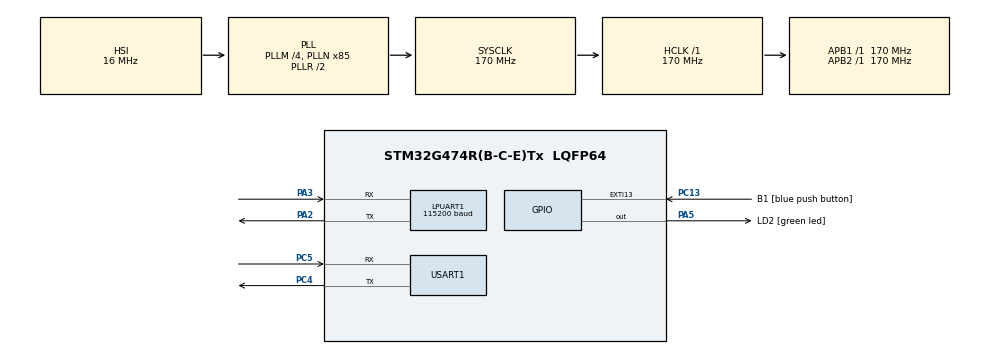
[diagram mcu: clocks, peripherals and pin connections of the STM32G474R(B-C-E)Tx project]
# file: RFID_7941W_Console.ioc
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LPUART1.BaudRate=115200
Mcu.Family=STM32G4
Mcu.Name=STM32G474R(B-C-E)Tx
Mcu.Package=LQFP64
NVIC.EXTI15_10_IRQn=true\:0\:0\:false\:false\:true\:true\:true\:true
NVIC.LPUART1_IRQn=true\:0\:0\:false\:false\:true\:true\:true\:true
NVIC.PriorityGroup=NVIC_PRIORITYGROUP_4
NVIC.USART1_IRQn=true\:0\:0\:false\:true\:true\:1\:true\:true\:true
PA13.GPIO_Label=T_SWDIO
PA13.Mode=Serial_Wire
PA13.Signal=SYS_JTMS-SWDIO
PA14.GPIO_Label=T_SWCLK
PA14.Mode=Serial_Wire
PA14.Signal=SYS_JTCK-SWCLK
PA2.GPIO_Speed=GPIO_SPEED_FREQ_HIGH
PA2.Mode=Asynchronous
PA2.Signal=LPUART1_TX
PA3.GPIO_Speed=GPIO_SPEED_FREQ_HIGH
PA3.Mode=Asynchronous
PA3.Signal=LPUART1_RX
PA5.GPIO_Label=LD2 [green led]
PA5.Signal=GPIO_Output
PB8-BOOT0.Signal=USART3_RX
PC10.Signal=UART4_TX
PC11.Signal=UART4_RX
PC13.GPIO_Label=B1 [blue push button]
PC13.Signal=GPXTI13
PC14-OSC32_IN.Mode=LSE-External-Oscillator
PC14-OSC32_IN.Signal=RCC_OSC32_IN
PC15-OSC32_OUT.Mode=LSE-External-Oscillator
PC15-OSC32_OUT.Signal=RCC_OSC32_OUT
PC4.Mode=Asynchronous
PC4.Signal=USART1_TX
PC5.Mode=Asynchronous
PC5.Signal=USART1_RX
PF0-OSC_IN.Mode=HSE-External-Oscillator
PF0-OSC_IN.Signal=RCC_OSC_IN
PF1-OSC_OUT.Mode=HSE-External-Oscillator
PF1-OSC_OUT.Signal=RCC_OSC_OUT
ProjectManager.HeapSize=0x200
ProjectManager.StackSize=0x400
ProjectManager.TargetToolchain=STM32CubeIDE
RCC.ADC12Freq_Value=170000000
RCC.ADC345Freq_Value=170000000
RCC.AHBFreq_Value=170000000
RCC.APB1Freq_Value=170000000
RCC.APB1TimFreq_Value=170000000
RCC.APB2Freq_Value=170000000
RCC.APB2TimFreq_Value=170000000
RCC.CortexFreq_Value=170000000
RCC.EXTERNAL_CLOCK_VALUE=12288000
RCC.HCLKFreq_Value=170000000
RCC.HSE_VALUE=24000000
RCC.HSI48_VALUE=48000000
RCC.HSI_VALUE=16000000
RCC.PLLM=RCC_PLLM_DIV4
RCC.PLLN=85
RCC.RTCClockSelection=RCC_RTCCLKSOURCE_LSE
RCC.SYSCLKFreq_VALUE=170000000
RCC.SYSCLKSource=RCC_SYSCLKSOURCE_PLLCLK
RCC.USBFreq_Value=170000000
RCC.VCOOutputFreq_Value=340000000
USART1.VirtualMode-Asynchronous=VM_ASYNC
VP_SYS_VS_DBSignals.Mode=DisableDeadBatterySignals
board=NUCLEO-G474RE

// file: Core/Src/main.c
/* USER CODE BEGIN Header */
/**
  ******************************************************************************
  * @file       : main.c
  * @author     : MarceliKu
  * @brief      : A program to experiment with the 7941W module
  ******************************************************************************
  * @attention
  *
  * Copyright (c) 2024 STMicroelectronics.
  * All rights reserved.
  *
  * This software is licensed under terms that can be found in the LICENSE file
  * in the root directory of this software component.
  * If no LICENSE file comes with this software, it is provided AS-IS.
  *
  ******************************************************************************
  */
/* USER CODE END Header */
#include "main.h"
#include "usart.h"
#include "gpio.h"

/* USER CODE BEGIN Includes */
#include "ring_buffer.h"
#include "parser.h"
#include "stdio.h"
#include "string.h"
#include "math.h"
/* USER CODE END Includes */

/* USER CODE BEGIN PD */
#define NO_OF_BLOCKS 4
#define NO_OF_SECTORS 16
#define TIMER_SEND_NEXT_REQUEST 700
/* USER CODE END PD */

/* USER CODE BEGIN PV */
uint8_t Text[90];
uint8_t TextLen;
uint8_t RequetsSent = 0; // How many frames (requests via USART1) have already been sent?

// RFID communication (USART1)
RingBuffer_t ReceiveBuffer;
uint8_t      ReceiveTmp;
extern char stringBuffer[525];

// Console communication (LPUART1)
uint8_t ConReceiveTmp; // Temporary variable for receiving one byte
volatile uint8_t ConByteReceived;
volatile uint8_t IsConSthReceived = 0;
char CurrentMode = '0';
char EchoStr[4];

// Default password
uint8_t DefPass[] = {0xFF, 0xFF, 0xFF, 0xFF, 0xFF, 0xFF};

// Auxiliary buffer for user responses
uint8_t UserAnswers[4];

// Auxiliary buffer for block contents used in case of command 0x13 - write specified sector
uint8_t BlockContent[] = {0x00, 0x10, 0x20, 0x30, 0x40, 0x50, 0x60, 0x70, 0x80, 0x90, 0xA0, 0xB0, 0xC0, 0xD0, 0xE0, 0xF0};

// Universal buffer to be used as ID, UID or new password:
// only the first 5 bytes will be used as the ID
// only the first 4 bytes will be used as the UID
// all 6 bytes will be used as a new/user password
uint8_t UniPass[] = {0X01, 0X02, 0X03, 0X04, 0X05, 0X06}; // default universal password/ID/UID
uint8_t InputByteNo = 0; // Number of byte entered by the user on console
uint8_t ExpectedByteNo = 0; // Expected byte number

// Variables needed for memory dump
uint8_t Sector = 0;
uint8_t Block = 0;

// Software timers
uint32_t TimerMsgSend;   // Software timer for sending next message by UART

//uint8_t Sequence = 0;

/* USER CODE END PV */

void SystemClock_Config(void);
static void MX_NVIC_Init(void);

int main(void)
{

  /* MCU Configuration--------------------------------------------------------*/

  /* Reset of all peripherals, Initializes the Flash interface and the Systick. */
  HAL_Init();

  /* Configure the system clock */
  SystemClock_Config();

  /* Initialize all configured peripherals */
  MX_GPIO_Init();
  MX_USART1_UART_Init();
  MX_LPUART1_UART_Init();

  /* Initialize interrupts */
  MX_NVIC_Init();
  /* USER CODE BEGIN 2 */
  PRS_Outcome ParseOutcome;

  //
  // Declarations and example(!) values of messages (requests) for 7941W
  //
  uint8_t MsgReadID[]     = { 0xAB, 0xBA, 0x00, 0x15, 0x00, 0x15};  // 0x15 requests reading ID of RFID tag of 125 kHz
  uint8_t MsgReadUID[]    = { 0xAB, 0xBA, 0x00, 0x10, 0x00, 0x10};  // 0x10 requests reading ID of RFID tag of 13.56 MHz
  uint8_t MsgWriteID[]    = { 0xAB, 0xBA, 0x00, 0x16, 0x05, 0x01, 0x02, 0x03, 0x04, 0x05, 0x12};  // 0x16 requests writing new ID (5 bytes)
  uint8_t MsgWriteUID[]   = { 0xAB, 0xBA, 0x00, 0x11, 0x04, 0x01, 0x02, 0x03, 0x04, 0x11};  // 0x11 requests writing new Buffer (4 bytes)
  // experimental variant of 0x11, but also does not work :-(
  // uint8_t MsgWriteUID[]   = { 0xAB, 0xBA, 0x00, 0x11, 0x0a, 0x01, 0x02, 0x03, 0x04, 0xFF, 0xFF, 0xFF, 0xFF, 0xFF, 0xFF, 0xF1};  // 0x11 requests writing new Buffer (4 bytes)

  uint8_t MsgReadSector[] = { 0xAB, 0xBA, 0x00, 0x12, 0x09, 0x00, 0x00, 0x0A, 0xFF, 0xFF, 0xFF, 0xFF, 0xFF, 0xFF, 0x10}; // 0x12 read specified sector
  uint8_t MsgWriteSector[]= { 0xAB, 0xBA, 0x00, 0x13, 0x19, 0x00, 0x01, 0x0A, 0xFF, 0xFF, 0xFF, 0xFF, 0xFF, 0xFF, 0x00, 0x01, 0x02, 0x03, 0x04, 0x05, 0x06, 0x07, 0x08, 0x09, 0x01, 0x02, 0x03, 0x04, 0x05, 0x06, 0x07}; // 0x13 write specified sector
  uint8_t MsgModifyPass[] = { 0xAB, 0xBA, 0x00, 0x14, 0x0E, 0x00, 0x0A, 0xFF, 0xFF, 0xFF, 0xFF, 0xFF, 0xFF, 0x01, 0x02, 0x03, 0x04, 0x05, 0x06, 0x17}; // 0x14 modify the password of group A or group B
  // Below request (0x17 - read all sector data) seams to not work.
  uint8_t MsgReadAll[]    = { 0xAB, 0xBA, 0x00, 0x17, 0x07, 0x0A, 0xFF, 0xFF, 0xFF, 0xFF, 0xFF, 0xFF, 0x1A};  // 0x17 read all sector data (M1-1K card)

  uint8_t* RequestPtr;
  uint8_t RequestLen;
  uint8_t XorByte;
  char    IdString[17];
  uint8_t BeginOfIdLoc = 15;
  uint8_t IdLen = 14;
  uint8_t UIdLen = 11;

  // Prepare constant part of EchoStr
  EchoStr[1] = '\n';
  EchoStr[2] = '\r';
  EchoStr[3] = '\0';

  // Start by displaying menu
  CurrentMode = 'm';
  ShowMenu();

  // Start listening to UART
  HAL_UART_Receive_IT(&huart1, &ReceiveTmp, 1);
  // Start listening to LPUART
  HAL_UART_Receive_IT(&hlpuart1, &ConReceiveTmp, 1);

  // Initiate TimerMsgSend
  TimerMsgSend   = HAL_GetTick();

  /* USER CODE END 2 */

  /* Infinite loop */
  /* USER CODE BEGIN WHILE */
  while (1)
  {
	  //=======================================================================================================
      // Parse byte received from 7941W (UART1)
	  //=======================================================================================================
      ParseOutcome = Parse_Byte(&ReceiveBuffer);
      if(ParseOutcome == PRS_MSG_RECEIVED)
      {
     	 switch(CurrentMode)
     	 {
     	 case '1': // Periodically read Tag ID (125 kHz)
             // If it was positive (0x81) response get Id from it and send to "console" (LPUART1)
             if(stringBuffer[9] == '8' && stringBuffer[10] == '1')
        	 {
            	strncpy(IdString, stringBuffer + BeginOfIdLoc, IdLen); // extract Id from stringBuffer
            	IdString[14] = '\n';
            	IdString[15] = '\r';
            	IdString[16] = '\0';
            	HAL_UART_Transmit(&hlpuart1, (uint8_t *)IdString, strlen(IdString), 1000);

            	// Toggle LED2 if it was ID stored in first 5 bytes of UniPass
            	TextLen = sprintf((char *)Text, "%02X:%02X:%02X:%02X:%02X\n\r", UniPass[0], UniPass[1], UniPass[2], UniPass[3], UniPass[4] );
            	if(strcmp((char *)Text, IdString) == 0)
            	{
                	HAL_GPIO_TogglePin(LD2_GPIO_Port, LD2_Pin);
            	}
             }
     	     break;

     	 case '2': // Periodically read Tag Buffer (13.56 MHz)
             // If it was positive (0x81) response get UId from it and send to "console" (LPUART1)
             if(stringBuffer[9] == '8' && stringBuffer[10] == '1')
        	 {
            	strncpy(IdString, stringBuffer + BeginOfIdLoc, UIdLen); // extract UId from stringBuffer
            	IdString[11] = '\n';
            	IdString[12] = '\r';
            	IdString[13] = '\0';
            	HAL_UART_Transmit(&hlpuart1, (uint8_t *)IdString, strlen(IdString), 1000);

            	// Toggle LED2 if it was UID stored in first 4 bytes of UniPass
            	TextLen = sprintf((char *)Text, "%02X:%02X:%02X:%02X\n\r", UniPass[0], UniPass[1], UniPass[2], UniPass[3] );
            	if(strcmp((char *)Text, IdString) == 0)
            	{
                	HAL_GPIO_TogglePin(LD2_GPIO_Port, LD2_Pin);
            	}
             }
     	     break;

     	 case '4': // Write new Tag ID (125 kHz)
     	 case '5': // Write new Tag UID (13.56 MHz)
             // Send any answer to "console" (LPUART1) - positive (0x81) or negative (0x80) confirmation
     		 HAL_UART_Transmit(&hlpuart1, (uint8_t *)stringBuffer, strlen(stringBuffer), 1000);
     	     break;

     	 case '6': // Read specified sector (13.56 MHz)
     	 case '7': // Write specified sector (13.56 MHz)
     	 case '8': // Modify sector's password (13.56 MHz)
     	 case '9': // Dump group memory (13.56 MHz)
     	 case 'a': // Read all sector data (13.56 MHz)
     		 // Send any answer to "console" (LPUART1) - positive (0x81) or negative (0x80) confirmation
         	 HAL_UART_Transmit(&hlpuart1, (uint8_t *)stringBuffer, strlen(stringBuffer), 1000);
     		 break;
     	 }
		 // get ready for new message
		 Reset_Buffers();
      }

      //=======================================================================================================
      // Parse byte received from Console (LPUART1)
      //=======================================================================================================

      if(IsConSthReceived == 1) // do only if new byte has been received from console
      {
    	  IsConSthReceived = 0;
    	  switch(CurrentMode)
    	  {
    	  case '3': // Set bytes of UniPass
    		  if(InputByteNo < 6)
    		  {
    			  UniPass[InputByteNo] = ConByteReceived;
    			  InputByteNo++;
    			  // Send echo of received byte to console
    			  TextLen = sprintf((char *)Text, "%02X\n\r", ConByteReceived);
    			  HAL_UART_Transmit(&hlpuart1, (uint8_t*)Text, TextLen, 1000);
    		  }
    		  break;
    	  case '6': // Read specified sector (13.56 MHz)
    	  case '7': // Write specified sector (13.56 MHz)
    		  // in consecutive steps input: sector (byte 0), block (byte 1), group (byte 2) and point out current pass (byte 3)
    		  if(InputByteNo < 4)
    		  {
    			  UserAnswers[InputByteNo] = ConByteReceived;
    			  InputByteNo++;
    			  // Send echo of received byte to console
    			  TextLen = sprintf((char *)Text, "%02X\n\r", ConByteReceived);
    			  HAL_UART_Transmit(&hlpuart1, (uint8_t*)Text, TextLen, 1000);
    		  }
    		  break;
    	  case '8': // Modify sector's password (13.56 MHz)
    		  // in consecutive steps input: sector (byte 0), group (byte 1), then choose current pass (byte 2) and choose new pass (byte 3)
    		  if(InputByteNo < 4)
    		  {
    			  UserAnswers[InputByteNo] = ConByteReceived;
    			  InputByteNo++;
    			  // Send echo of received byte to console
    			  TextLen = sprintf((char *)Text, "%02X\n\r", ConByteReceived);
    			  HAL_UART_Transmit(&hlpuart1, (uint8_t*)Text, TextLen, 1000);
    		  }
    		  break;
    	  case '9': // Dump group memory (13.56 MHz)
    	  case 'a': // Read all sector data (13.56 MHz)
    		  // in consecutive steps input: group (byte 0) and then choose current pass (byte 1)
    		  if(InputByteNo < 2)
    		  {
    			  UserAnswers[InputByteNo] = ConByteReceived;
    			  InputByteNo++;
    			  // Send echo of received byte to console
    			  TextLen = sprintf((char *)Text, "%02X\n\r", ConByteReceived);
    			  HAL_UART_Transmit(&hlpuart1, (uint8_t*)Text, TextLen, 1000);
    		  }
    		  break;
    	  case 'm': // Display Menu
    		  // Send echo of received mode to console
    		  EchoStr[0] = (char)ConByteReceived;
    		  HAL_UART_Transmit(&hlpuart1, (uint8_t *)EchoStr, 3, 1000);

    		  CurrentMode = (char)ConByteReceived;
    		  break;
    	  }

    	  if((char)ConByteReceived == 'm') // || NewMode == 'm')
    	  {
    		  CurrentMode = 'm';
    		  ShowMenu();
    	  }

      }

      //=======================================================================================================
	  // Send next request
      //=======================================================================================================

      if((HAL_GetTick() - TimerMsgSend) > TIMER_SEND_NEXT_REQUEST)
	  {
    	 TimerMsgSend = HAL_GetTick();
    	 switch(CurrentMode)
    	 {
    	 case '1':
    		 RequestPtr = MsgReadID;
    		 RequestLen = sizeof MsgReadID;
    		 HAL_UART_Transmit(&huart1, RequestPtr, RequestLen, 500);
    		 break;
    	 case '2':
     		 RequestPtr = MsgReadUID;
    		 RequestLen = sizeof MsgReadUID;
    		 HAL_UART_Transmit(&huart1, RequestPtr, RequestLen, 500);
    		 break;
    	 case '3':
    		 if(InputByteNo < 6)
    		 {
    			 if(InputByteNo == ExpectedByteNo)
    			 {
        			 TextLen = sprintf((char *)Text, "\n\rEnter %d. byte of new (U)ID: ", ExpectedByteNo);
        			 HAL_UART_Transmit(&hlpuart1, (uint8_t*)Text, TextLen, 1000);
    				 ExpectedByteNo++;
    			 }
    		 }
   			 else
   			 {
   				CurrentMode = 'm';
   				ShowMenu();
   			 }
    		 break;
    	 case '4':
    		 if(RequetsSent < 1) // to send this request only once
    		 {
        		 TextLen = sprintf((char *)Text, "Writing new ID (5 Bytes): %02X:%02X:%02X:%02X:%02X)\n\r", UniPass[0], UniPass[1], UniPass[2], UniPass[3], UniPass[4] );
        		 HAL_UART_Transmit(&hlpuart1, (uint8_t*)Text, TextLen, 1000);
        		 RequestPtr = MsgWriteID;
        		 RequestLen = sizeof MsgWriteID;
    	   	     RequestPtr[5] = UniPass[0];
    			 RequestPtr[6] = UniPass[1];
    	   	     RequestPtr[7] = UniPass[2];
    			 RequestPtr[8] = UniPass[3];
    	   	     RequestPtr[9] = UniPass[4];
       	    	 XorByte = CalculateCheckByte(RequestPtr, RequestLen);
        	     RequestPtr[RequestLen - 1] = XorByte;
        	     RequetsSent++;
        	     HAL_UART_Transmit(&huart1, RequestPtr, RequestLen, 500);
    		 }
    		 break;
    	 case '5':
    		 if(RequetsSent < 1) // to send this request only once
    		 {
        		 TextLen = sprintf((char *)Text, "Writing new Buffer (4 Bytes): %02X:%02X:%02X:%02X)\n\r", UniPass[0], UniPass[1], UniPass[2], UniPass[3] );
        		 HAL_UART_Transmit(&hlpuart1, (uint8_t*)Text, TextLen, 1000);
        		 RequestPtr = MsgWriteUID;
        		 RequestLen = sizeof MsgWriteUID;
    	   	     RequestPtr[5] = UniPass[0];
    			 RequestPtr[6] = UniPass[1];
    	   	     RequestPtr[7] = UniPass[2];
    			 RequestPtr[8] = UniPass[3];
       	    	 XorByte = CalculateCheckByte(RequestPtr, RequestLen);
        	     RequestPtr[RequestLen - 1] = XorByte;
        	     RequetsSent++;
        	     HAL_UART_Transmit(&huart1, RequestPtr, RequestLen, 500);
    		 }
    		 break;
    	 case '6': // Read specified sector (13.56 MHz)
    		 if(InputByteNo < 4)
    		 {
        		 // First set sector (0-15), block (0-3), group (0x0A/0x0B) and password (DefPass or UniPass)
    			 if(InputByteNo == ExpectedByteNo) // send next command only after previous answer received
    			 {
        	    	 switch(ExpectedByteNo)
        	    	 {
        	    	 case 0:
            			 TextLen = sprintf((char *)Text, "Enter sector no (00-0F) : ");
        	    		 break;
        	    	 case 1:
        	    		 TextLen = sprintf((char *)Text, "Enter block no (00-03) : ");
        	    		 break;
        	    	 case 2:
        	    		 TextLen = sprintf((char *)Text, "Enter group no (0A or 0B) : ");
        	    		 break;
        	    	 case 3:
        	    		 TextLen = sprintf((char *)Text, "Which password to use as the current one? (01 - DefPass or 02 - UniPass) : ");
        	    		 break;
        	    	 }
        			 ExpectedByteNo++;
            		 HAL_UART_Transmit(&hlpuart1, (uint8_t*)Text, TextLen, 1000);
    			 }
    		 }
    		 else
    		 {
    			 if(RequetsSent < 1) // to send this request only once
    			 {
        			 RequestPtr = MsgReadSector;
        			 RequestLen = sizeof MsgReadSector;
        	   	     RequestPtr[5] = UserAnswers[0]; // Sector
        			 RequestPtr[6] = UserAnswers[1]; // Block
        			 RequestPtr[7] = UserAnswers[2]; // A or B group password (0x0A/0x0B)
        			 // insert password:
        			 if(UserAnswers[3] == 0x01) // DefPass was chosen
        			 {
            			 RequestPtr[8]  = DefPass[0];
            			 RequestPtr[9]  = DefPass[1];
            			 RequestPtr[10] = DefPass[2];
            			 RequestPtr[11] = DefPass[3];
            			 RequestPtr[12] = DefPass[4];
            			 RequestPtr[13] = DefPass[5];
        			 }
        			 else // UniPass was chosen
        			 {
            			 RequestPtr[8]  = UniPass[0];
            			 RequestPtr[9]  = UniPass[1];
            			 RequestPtr[10] = UniPass[2];
            			 RequestPtr[11] = UniPass[3];
            			 RequestPtr[12] = UniPass[4];
            			 RequestPtr[13] = UniPass[5];
        			 }

        	    	 XorByte = CalculateCheckByte(RequestPtr, RequestLen);
        	    	 RequestPtr[RequestLen - 1] = XorByte;
    	    		 TextLen = sprintf((char *)Text, "Request sent. RFID tag response:\n\r");
          		     HAL_UART_Transmit(&hlpuart1, (uint8_t*)Text, TextLen, 1000);
        	    	 RequetsSent++;
        	    	 HAL_UART_Transmit(&huart1, RequestPtr, RequestLen, 500);
    			 }
    		 }
    		 break;
    	 case '7': // Write specified sector (13.56 MHz)
    		 if(InputByteNo < 4)
    		 {
    			 // First set sector (0-15), block (0-3), group (0x0A/0x0B) and password (DefPass or UniPass)
    			 if(InputByteNo == ExpectedByteNo) // send next command only after previous answer received
    			 {
    				 switch(ExpectedByteNo)
    				 {
    				 case 0:
    					 TextLen = sprintf((char *)Text, "Enter sector no (00-0F) : ");
    					 break;
    				 case 1:
    					 TextLen = sprintf((char *)Text, "Enter block no (00-03) : ");
    					 break;
    				 case 2:
    					 TextLen = sprintf((char *)Text, "Enter group no (0A or 0B) : ");
    					 break;
    				 case 3:
    					 TextLen = sprintf((char *)Text, "Which password to use as the current one? (01 - DefPass or 02 - UniPass) : ");
    					 break;
    				 }
    				 ExpectedByteNo++;
    				 HAL_UART_Transmit(&hlpuart1, (uint8_t*)Text, TextLen, 1000);
    			 }
    		 }
    		 else
    		 {
    			 if(RequetsSent < 1) // to send this request only once
    			 {
    				 RequestPtr = MsgWriteSector;
    				 RequestLen = sizeof MsgWriteSector;
        	   	     RequestPtr[5] = UserAnswers[0]; // Sector
        			 RequestPtr[6] = UserAnswers[1]; // Block
        			 RequestPtr[7] = UserAnswers[2]; // A or B group password (0x0A/0x0B)
        			 // insert password:
        			 if(UserAnswers[3] == 0x01) // DefPass was chosen
        			 {
            			 RequestPtr[8]  = DefPass[0];
            			 RequestPtr[9]  = DefPass[1];
            			 RequestPtr[10] = DefPass[2];
            			 RequestPtr[11] = DefPass[3];
            			 RequestPtr[12] = DefPass[4];
            			 RequestPtr[13] = DefPass[5];
        			 }
        			 else // UniPass was chosen
        			 {
            			 RequestPtr[8]  = UniPass[0];
            			 RequestPtr[9]  = UniPass[1];
            			 RequestPtr[10] = UniPass[2];
            			 RequestPtr[11] = UniPass[3];
            			 RequestPtr[12] = UniPass[4];
            			 RequestPtr[13] = UniPass[5];
        			 }
        			 // Insert 16 bytes content of block
        			 RequestPtr[14] = BlockContent[0];
        			 RequestPtr[15] = BlockContent[1];
        			 RequestPtr[16] = BlockContent[2];
        			 RequestPtr[17] = BlockContent[3];
        			 RequestPtr[18] = BlockContent[4];
        			 RequestPtr[19] = BlockContent[5];
        			 RequestPtr[20] = BlockContent[6];
        			 RequestPtr[21] = BlockContent[7];
        			 RequestPtr[22] = BlockContent[8];
        			 RequestPtr[23] = BlockContent[9];
        			 RequestPtr[24] = BlockContent[10];
        			 RequestPtr[25] = BlockContent[11];
        			 RequestPtr[26] = BlockContent[12];
        			 RequestPtr[27] = BlockContent[13];
        			 RequestPtr[28] = BlockContent[14];
        			 RequestPtr[29] = BlockContent[15];

    				 XorByte = CalculateCheckByte(RequestPtr, RequestLen);
    				 RequestPtr[RequestLen - 1] = XorByte;
    				 TextLen = sprintf((char *)Text, "Request sent. RFID tag response:\n\r");
    				 HAL_UART_Transmit(&hlpuart1, (uint8_t*)Text, TextLen, 1000);
    				 RequetsSent++;
    				 HAL_UART_Transmit(&huart1, RequestPtr, RequestLen, 500);
    			 }
    		 }
    		 break;
    	 case '8': // Modify sector's password (13.56 MHz)
    		 if(InputByteNo < 4)
    		 {
    			 // First set sector (0-15), group (0x0A/0x0B), old and new passwords (DefPass or UniPass)
    			 if(InputByteNo == ExpectedByteNo) // send next command only after previous answer received
    			 {
    				 switch(ExpectedByteNo)
    				 {
    				 case 0:
    					 TextLen = sprintf((char *)Text, "Enter sector no (00-0F) : ");
    					 break;
    				 case 1:
    					 TextLen = sprintf((char *)Text, "Enter group no (0A or 0B) : ");
    					 break;
    				 case 2:
    					 TextLen = sprintf((char *)Text, "Which password to use as the current one? (01 - DefPass or 02 - UniPass) : ");
    					 break;
    				 case 3:
    					 TextLen = sprintf((char *)Text, "Which password to use as the new one? (01 - DefPass or 02 - UniPass) : ");
    					 break;
    				 }
    				 ExpectedByteNo++;
    				 HAL_UART_Transmit(&hlpuart1, (uint8_t*)Text, TextLen, 1000);
    			 }
    		 }
    		 else
    		 {
    			 if(RequetsSent < 1) // to send this request it only once
    			 {
    				 RequestPtr = MsgModifyPass;
    				 RequestLen = sizeof MsgModifyPass;
    				 RequestPtr[5] = UserAnswers[0]; // Sector
    				 RequestPtr[6] = UserAnswers[1]; // A or B group password (0x0A/0x0B)
    				 // insert current password:
    				 if(UserAnswers[2] == 0x01) // DefPass was chosen
    				 {
    					 RequestPtr[7]  = DefPass[0];
    					 RequestPtr[8]  = DefPass[1];
    					 RequestPtr[9]  = DefPass[2];
    					 RequestPtr[10] = DefPass[3];
    					 RequestPtr[11] = DefPass[4];
    					 RequestPtr[12] = DefPass[5];
    				 }
    				 else // UniPass was chosen
    				 {
    					 RequestPtr[7]  = UniPass[0];
    					 RequestPtr[8]  = UniPass[1];
    					 RequestPtr[9]  = UniPass[2];
    					 RequestPtr[10] = UniPass[3];
    					 RequestPtr[11] = UniPass[4];
    					 RequestPtr[12] = UniPass[5];
    				 }
    				 // insert new password:
    				 if(UserAnswers[3] == 0x01) // DefPass was chosen
    				 {
    					 RequestPtr[13] = DefPass[0];
    					 RequestPtr[14] = DefPass[1];
    					 RequestPtr[15] = DefPass[2];
    					 RequestPtr[16] = DefPass[3];
    					 RequestPtr[17] = DefPass[4];
    					 RequestPtr[18] = DefPass[5];
    				 }
    				 else // UniPass was chosen
    				 {
    					 RequestPtr[13] = UniPass[0];
    					 RequestPtr[14] = UniPass[1];
    					 RequestPtr[15] = UniPass[2];
    					 RequestPtr[16] = UniPass[3];
    					 RequestPtr[17] = UniPass[4];
    					 RequestPtr[18] = UniPass[5];
    				 }
    				 XorByte = CalculateCheckByte(RequestPtr, RequestLen);
    				 RequestPtr[RequestLen - 1] = XorByte;
    				 TextLen = sprintf((char *)Text, "Request sent. RFID tag response:\n\r");
    				 HAL_UART_Transmit(&hlpuart1, (uint8_t*)Text, TextLen, 1000);
    				 RequetsSent++;
    				 HAL_UART_Transmit(&huart1, RequestPtr, RequestLen, 500);
    			 }
    		 }
    		 break;

    	 case '9': // Dump group memory (13.56 MHz)
    		 if(InputByteNo < 2)
    		 {
    			 // First set group (0x0A or 0x0B) and password (DefPass or UniPass)
    			 if(InputByteNo == ExpectedByteNo) // send next command only after previous answer received
    			 {
    				 switch(ExpectedByteNo)
    				 {
    				 case 0:
    					 TextLen = sprintf((char *)Text, "Enter group no (0A or 0B) : ");
    					 break;
    				 case 1:
    					 TextLen = sprintf((char *)Text, "Which password to use as the current one? (01 - DefPass or 02 - UniPass) : ");
    					 break;
    				 }
    				 ExpectedByteNo++;
    				 HAL_UART_Transmit(&hlpuart1, (uint8_t*)Text, TextLen, 1000);
    			 }
    		 }
    		 else
    		 {
    			 if(Sector < NO_OF_SECTORS)
    			 {
    				 RequestPtr = MsgReadSector;
    				 RequestLen = sizeof MsgReadSector;

           	   	     RequestPtr[5] = Sector;
            		 RequestPtr[6] = Block;
            		 RequestPtr[7] = UserAnswers[0]; // A or B group password (0x0A/0x0B)
            		 // insert password:
					 if(UserAnswers[1] == 0x01) // DefPass was chosen
					 {
						 RequestPtr[8]  = DefPass[0];
						 RequestPtr[9]  = DefPass[1];
						 RequestPtr[10] = DefPass[2];
						 RequestPtr[11] = DefPass[3];
						 RequestPtr[12] = DefPass[4];
						 RequestPtr[13] = DefPass[5];
					 }
					 else // UniPass was chosen
					 {
						 RequestPtr[8]  = UniPass[0];
						 RequestPtr[9]  = UniPass[1];
						 RequestPtr[10] = UniPass[2];
						 RequestPtr[11] = UniPass[3];
						 RequestPtr[12] = UniPass[4];
						 RequestPtr[13] = UniPass[5];
					 }

					 XorByte = CalculateCheckByte(RequestPtr, RequestLen);
					 RequestPtr[RequestLen - 1] = XorByte;

    				 HAL_UART_Transmit(&huart1, RequestPtr, RequestLen, 500);

    				 Block = (Block + 1) % NO_OF_BLOCKS; // increment Block but after SECTOR_SIZE reset to 0

    				 if(Block == 0) // increment Sector but only when Block reset is equal 0
    				 {
    					 Sector++;
    				 }
    			 }
    		 }
    		 break;
    	 case 'a': // Read all sector data (13.56 MHz)
    		 if(InputByteNo < 2)
    		 {
    			 // First set group (0x0A or 0x0B) and password (DefPass or UniPass)
    			 if(InputByteNo == ExpectedByteNo) // send next command only after previous answer received
    			 {
    				 switch(ExpectedByteNo)
    				 {
    				 case 0:
    					 TextLen = sprintf((char *)Text, "Enter group no (0A or 0B) : ");
    					 break;
    				 case 1:
    					 TextLen = sprintf((char *)Text, "Which password to use as the current one? (01 - DefPass or 02 - UniPass) : ");
    					 break;
    				 }
    				 ExpectedByteNo++;
    				 HAL_UART_Transmit(&hlpuart1, (uint8_t*)Text, TextLen, 1000);
    			 }
    		 }
    		 else
    		 {
        		 if(RequetsSent < 1) // to send this request it only once
        		 {
        			 RequestPtr = MsgReadAll;
        			 RequestLen = sizeof MsgReadAll;

            		 RequestPtr[5] = UserAnswers[0]; // A or B group password (0x0A/0x0B)
            		 // insert password:
					 if(UserAnswers[1] == 0x01) // DefPass was chosen
					 {
						 RequestPtr[6]  = DefPass[0];
						 RequestPtr[7]  = DefPass[1];
						 RequestPtr[8]  = DefPass[2];
						 RequestPtr[9]  = DefPass[3];
						 RequestPtr[10] = DefPass[4];
						 RequestPtr[11] = DefPass[5];
					 }
					 else // UniPass was chosen
					 {
						 RequestPtr[6]  = UniPass[0];
						 RequestPtr[7]  = UniPass[1];
						 RequestPtr[8]  = UniPass[2];
						 RequestPtr[9]  = UniPass[3];
						 RequestPtr[10] = UniPass[4];
						 RequestPtr[11] = UniPass[5];
					 }

					 XorByte = CalculateCheckByte(RequestPtr, RequestLen);
					 RequestPtr[RequestLen - 1] = XorByte;

        	    	 RequetsSent++;
        	    	 HAL_UART_Transmit(&huart1, RequestPtr, RequestLen, 500);
        		 }
    		 }
    		 break;
    	 }
	  }
    /* USER CODE END WHILE */

  }
}

void SystemClock_Config(void)
{
  RCC_OscInitTypeDef RCC_OscInitStruct = {0};
  RCC_ClkInitTypeDef RCC_ClkInitStruct = {0};

  /** Configure the main internal regulator output voltage
  */
  HAL_PWREx_ControlVoltageScaling(PWR_REGULATOR_VOLTAGE_SCALE1_BOOST);

  /** Initializes the RCC Oscillators according to the specified parameters
  * in the RCC_OscInitTypeDef structure.
  */
  RCC_OscInitStruct.OscillatorType = RCC_OSCILLATORTYPE_HSI;
  RCC_OscInitStruct.HSIState = RCC_HSI_ON;
  RCC_OscInitStruct.HSICalibrationValue = RCC_HSICALIBRATION_DEFAULT;
  RCC_OscInitStruct.PLL.PLLState = RCC_PLL_ON;
  RCC_OscInitStruct.PLL.PLLSource = RCC_PLLSOURCE_HSI;
  RCC_OscInitStruct.PLL.PLLM = RCC_PLLM_DIV4;
  RCC_OscInitStruct.PLL.PLLN = 85;
  RCC_OscInitStruct.PLL.PLLP = RCC_PLLP_DIV2;
  RCC_OscInitStruct.PLL.PLLQ = RCC_PLLQ_DIV2;
  RCC_OscInitStruct.PLL.PLLR = RCC_PLLR_DIV2;
  if (HAL_RCC_OscConfig(&RCC_OscInitStruct) != HAL_OK)
  {
    Error_Handler();
  }

  /** Initializes the CPU, AHB and APB buses clocks
  */
  RCC_ClkInitStruct.ClockType = RCC_CLOCKTYPE_HCLK|RCC_CLOCKTYPE_SYSCLK
                              |RCC_CLOCKTYPE_PCLK1|RCC_CLOCKTYPE_PCLK2;
  RCC_ClkInitStruct.SYSCLKSource = RCC_SYSCLKSOURCE_PLLCLK;
  RCC_ClkInitStruct.AHBCLKDivider = RCC_SYSCLK_DIV1;
  RCC_ClkInitStruct.APB1CLKDivider = RCC_HCLK_DIV1;
  RCC_ClkInitStruct.APB2CLKDivider = RCC_HCLK_DIV1;

  if (HAL_RCC_ClockConfig(&RCC_ClkInitStruct, FLASH_LATENCY_4) != HAL_OK)
  {
    Error_Handler();
  }
}

/**
  * @brief NVIC Configuration.
  * @retval None
  */
static void MX_NVIC_Init(void)
{
  /* USART1_IRQn interrupt configuration */
  HAL_NVIC_SetPriority(USART1_IRQn, 0, 0);
  HAL_NVIC_EnableIRQ(USART1_IRQn);
}

/* USER CODE BEGIN 4 */
void HAL_UART_RxCpltCallback(UART_HandleTypeDef *huart)
{
	if(huart->Instance == USART1)
	{
		// Write received byte to ReceiveBuffer
		RB_Write(&ReceiveBuffer, ReceiveTmp);
		// Start to listening UART again - important!
		HAL_UART_Receive_IT(&huart1, &ReceiveTmp, 1);
	}
	else if(huart->Instance == LPUART1)
	{
		ConByteReceived = ConReceiveTmp;
		IsConSthReceived = 1;
		// Start to listening UART again - important!
		HAL_UART_Receive_IT(&hlpuart1, &ConReceiveTmp, 1);
	}
}

uint8_t CalculateCheckByte(const uint8_t *message, uint8_t length)
{
	  //Calculate XOR XorByte byte: result of XOR all bytes except protocol header (0xAB, 0xBA)
	  length--; // Exclude the last byte - XorByte byte
	  uint8_t XorByte = message[2];
	  for(uint8_t i = 3; i < length; i++)
	  {
 		  XorByte = XorByte ^ message[i];
	  }

	  return XorByte;
}

void ShowMenu()
{
	  TextLen = sprintf((char *)Text, "\n\rMenu options:\n\r");
	  HAL_UART_Transmit(&hlpuart1, (uint8_t*)Text, TextLen, 1000);
	  TextLen = sprintf((char *)Text, "1 - Periodically read Tag ID (125 kHz)\n\r");
	  HAL_UART_Transmit(&hlpuart1, (uint8_t*)Text, TextLen, 1000);
	  TextLen = sprintf((char *)Text, "2 - Periodically read Tag Buffer (13.56 MHz)\n\r");
	  HAL_UART_Transmit(&hlpuart1, (uint8_t*)Text, TextLen, 1000);

	  TextLen = sprintf((char *)Text, "3 - Set bytes of UniPass (current: %02X:%02X:%02X:%02X:%02X:%02X)\n\r", UniPass[0], UniPass[1], UniPass[2], UniPass[3], UniPass[4], UniPass[5] );
	  HAL_UART_Transmit(&hlpuart1, (uint8_t*)Text, TextLen, 1000);

	  TextLen = sprintf((char *)Text, "4 - Write new Tag ID (125 kHz)\n\r");
	  HAL_UART_Transmit(&hlpuart1, (uint8_t*)Text, TextLen, 1000);
	  TextLen = sprintf((char *)Text, "5 - Write new Tag UID (13.56 MHz)\n\r");
	  HAL_UART_Transmit(&hlpuart1, (uint8_t*)Text, TextLen, 1000);

	  TextLen = sprintf((char *)Text, "6 - Read specified sector (13.56 MHz)\n\r");
	  HAL_UART_Transmit(&hlpuart1, (uint8_t*)Text, TextLen, 1000);
	  TextLen = sprintf((char *)Text, "7 - Write specified sector (13.56 MHz)\n\r");
	  HAL_UART_Transmit(&hlpuart1, (uint8_t*)Text, TextLen, 1000);
	  TextLen = sprintf((char *)Text, "8 - Modify sector's password (13.56 MHz)\n\r");
	  HAL_UART_Transmit(&hlpuart1, (uint8_t*)Text, TextLen, 1000);

	  TextLen = sprintf((char *)Text, "9 - Dump group memory (13.56 MHz)\n\r");
	  HAL_UART_Transmit(&hlpuart1, (uint8_t*)Text, TextLen, 1000);
	  TextLen = sprintf((char *)Text, "a - Read all sector data (13.56 MHz)\n\r");
	  HAL_UART_Transmit(&hlpuart1, (uint8_t*)Text, TextLen, 1000);

	  TextLen = sprintf((char *)Text, "m - Display Menu (any time)\n\r");
	  HAL_UART_Transmit(&hlpuart1, (uint8_t*)Text, TextLen, 1000);
	  TextLen = sprintf((char *)Text, "\n\r>Send chosen option ('1'-'9' or 'a' or 'm'): ");
	  HAL_UART_Transmit(&hlpuart1, (uint8_t*)Text, TextLen, 1000);

	  // Reset variables related to some modes
	  Sector = 0;
	  Block = 0;
	  RequetsSent = 0;
	  InputByteNo = 0;
	  ExpectedByteNo = 0;
}

/* USER CODE END 4 */

void Error_Handler(void)
{
  __disable_irq();
  while (1)
  {
  }
}
